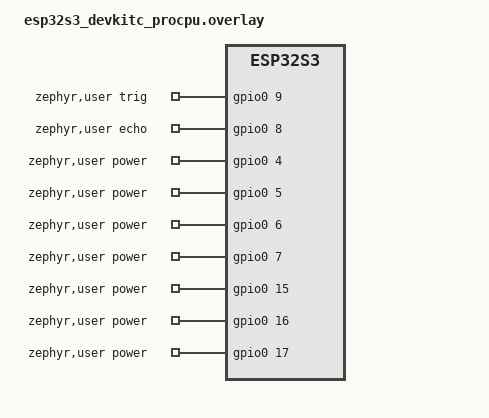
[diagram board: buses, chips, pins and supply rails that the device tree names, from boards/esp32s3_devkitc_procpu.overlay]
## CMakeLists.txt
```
# SPDX-License-Identifier: Apache-2.0

cmake_minimum_required(VERSION 3.20.0)

# Workaround: ESP32-Zephyr-Test wird von zephyr_module.py als Modul erkannt
# (wegen zephyr/CMakeLists.txt + zephyr/Kconfig im Projektverzeichnis).
# ZEPHYR_MODULES explizit setzen und den Projektpfad herausfiltern.
get_filename_component(_project_root "${CMAKE_CURRENT_SOURCE_DIR}/.." ABSOLUTE)
execute_process(
  COMMAND west list -f "{abspath}"
  WORKING_DIRECTORY "${_project_root}"
  OUTPUT_VARIABLE _all_modules
  OUTPUT_STRIP_TRAILING_WHITESPACE
  ERROR_QUIET
)
string(REPLACE "\n" ";" _modules_list "${_all_modules}")
list(REMOVE_ITEM _modules_list "${_project_root}")
set(ZEPHYR_MODULES ${_modules_list} CACHE STRING "Zephyr module paths" FORCE)

find_package(Zephyr REQUIRED HINTS $ENV{ZEPHYR_BASE})
project(us_ranging)

target_sources(app PRIVATE src/main.c)
```

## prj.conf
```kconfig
# SPDX-License-Identifier: Apache-2.0

CONFIG_LOG=y
CONFIG_GPIO=y
# CONFIG_POWEROFF zieht sleep_cpu.c / sleep_modem.c / rtc_io.c in den Build
# (benoetigt fuer die Linker-Symbole von esp_deep_sleep_start), aktiviert
# aber NICHT den Zephyr-PM-Idle-Hook → kein automatischer Sleep waehrend
# k_sem_take / k_sleep.
CONFIG_POWEROFF=y
```

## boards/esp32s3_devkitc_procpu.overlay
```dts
/*
 * Board-Overlay fuer ESP32-S3-DevKitC (procpu)
 * Projekt: 100-US-Ranging
 *
 * HC-SR04: TRIG -> GPIO9, ECHO -> GPIO8
 *
 * Power-Gate: GPIOs 4,5,6,7,15,16,17 parallel (je ~40 mA, Summe ~280 mA)
 * -> HC-SR04 VCC wird waehrend Deep-Sleep abgeschaltet (~70 mA Peak-Strom)
 *
 * SPDX-License-Identifier: Apache-2.0
 */

/ {
	zephyr,user {
		trig-gpios  = <&gpio0 9 GPIO_ACTIVE_HIGH>;
		echo-gpios  = <&gpio0 8 GPIO_ACTIVE_HIGH>;
		power-gpios = <&gpio0  4 GPIO_ACTIVE_HIGH>,
			      <&gpio0  5 GPIO_ACTIVE_HIGH>,
			      <&gpio0  6 GPIO_ACTIVE_HIGH>,
			      <&gpio0  7 GPIO_ACTIVE_HIGH>,
			      <&gpio0 15 GPIO_ACTIVE_HIGH>,
			      <&gpio0 16 GPIO_ACTIVE_HIGH>,
			      <&gpio0 17 GPIO_ACTIVE_HIGH>;
	};
};
```

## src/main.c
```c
/*
 * 100-US-Ranging - HC-SR04 Ultraschall-Entfernungsmessung
 *
 * ECHO-Puls wird per GPIO-Interrupt auf beide Flanken gemessen.
 * Timing ueber k_cycle_get_32() (ESP32-S3: 240 MHz -> ~4 ns Aufloesung).
 *
 * Verdrahtung (ESP32-S3-DevKitC):
 *   HC-SR04 VCC  -> 5 V (oder 3,3 V bei HC-SR04P)
 *   HC-SR04 GND  -> GND
 *   HC-SR04 TRIG -> GPIO9
 *   HC-SR04 ECHO -> GPIO8  (ggf. 5->3,3 V Spannungsteiler)
 *
 * SPDX-License-Identifier: Apache-2.0
 */

#include <zephyr/kernel.h>
#include <zephyr/device.h>
#include <zephyr/drivers/gpio.h>
#include <zephyr/logging/log.h>
#include <zephyr/logging/log_ctrl.h>
#include <esp_sleep.h>
#include <esp_attr.h>
#include <driver/gpio.h>

LOG_MODULE_REGISTER(us_ranging, LOG_LEVEL_INF);

#define DT_USER DT_PATH(zephyr_user)
static const struct gpio_dt_spec trig = GPIO_DT_SPEC_GET(DT_USER, trig_gpios);
static const struct gpio_dt_spec echo = GPIO_DT_SPEC_GET(DT_USER, echo_gpios);

/* Power-Gate: alle GPIOs aus der DT-Property als Array */
#define _PWR_PIN_INIT(node, prop, idx) GPIO_DT_SPEC_GET_BY_IDX(node, prop, idx),
static const struct gpio_dt_spec power_pins[] = {
	DT_FOREACH_PROP_ELEM(DT_USER, power_gpios, _PWR_PIN_INIT)
};
#define POWER_PIN_COUNT ARRAY_SIZE(power_pins)

#define TRIG_PULSE_US         10
#define ECHO_TIMEOUT_MS       35
#define MEASURE_INTERVAL_MS   10000
/* HC-SR04 benoetigt nach Power-on mindestens 50 ms bis zum ersten Trigger */
#define SENSOR_STARTUP_MS     550

#define US_TO_MM_NUM  10
#define US_TO_MM_DEN  58

static K_SEM_DEFINE(echo_sem, 0, 1);
static volatile uint32_t echo_rise_cycles;
static volatile uint32_t echo_fall_cycles;
static volatile bool     echo_complete;

/*
 * Akkumulierter Zeitversatz in ms.
 * RTC_DATA_ATTR legt die Variable in den RTC-Fast-Speicher (0x600fe000),
 * der Deep-Sleep ueberlebt. Bei Power-on-Reset wird er auf 0 zurueckgesetzt.
 */
RTC_DATA_ATTR static uint32_t s_rtc_offset_ms;

static log_timestamp_t persistent_ts(void)
{
	return (log_timestamp_t)(s_rtc_offset_ms + (uint32_t)k_uptime_get());
}

/* Sensor einschalten: alle Power-Pins HIGH */
static void sensor_power_on(void)
{
	for (int i = 0; i < POWER_PIN_COUNT; i++) {
		gpio_hold_dis(power_pins[i].pin);
		gpio_pin_set_dt(&power_pins[i], 1);
	}
}

/* Sensor ausschalten: alle Power-Pins LOW und einfrieren */
static void sensor_power_off(void)
{
	for (int i = 0; i < POWER_PIN_COUNT; i++) {
		gpio_pin_set_dt(&power_pins[i], 0);
		gpio_hold_en(power_pins[i].pin);
	}
}

static struct gpio_callback echo_cb_data;

static void echo_isr(const struct device *dev, struct gpio_callback *cb,
		     uint32_t pins)
{
	ARG_UNUSED(dev);
	ARG_UNUSED(cb);
	ARG_UNUSED(pins);

	if (gpio_pin_get_dt(&echo)) {
		echo_rise_cycles = k_cycle_get_32();
		echo_complete = false;
	} else {
		echo_fall_cycles = k_cycle_get_32();
		echo_complete = true;
		k_sem_give(&echo_sem);
	}
}

int main(void)
{
	int rc;

	/* Persistenten Timestamp sofort registrieren - gilt fuer alle Logs
	 * dieses Boots. Frequenz 1000 = Zephyr interpretiert Wert als ms.
	 * Bei Power-on: s_rtc_offset_ms == 0 -> Timestamp beginnt bei 0.
	 * Nach Deep-Sleep: s_rtc_offset_ms enthaelt akkumulierte Vorlaufzeit.
	 */
	log_set_timestamp_func(persistent_ts, 1000U);

	/* Wakeup-Ursache bestimmen (vor GPIO-Init, damit fruehe Logs korrekt
	 * gestempelt werden) */
	esp_sleep_wakeup_cause_t cause = esp_sleep_get_wakeup_cause();

	if (!gpio_is_ready_dt(&trig) || !gpio_is_ready_dt(&echo)) {
		LOG_ERR("GPIO nicht bereit");
		return -ENODEV;
	}

	gpio_pin_configure_dt(&trig, GPIO_OUTPUT_INACTIVE);
	gpio_pin_configure_dt(&echo, GPIO_INPUT);

	/* Pad-Hold vom letzten Deep-Sleep aufheben */
	gpio_hold_dis(trig.pin);

	/* Power-Pins initialisieren (OUTPUT LOW) und Hold aufheben */
	for (int i = 0; i < POWER_PIN_COUNT; i++) {
		if (!gpio_is_ready_dt(&power_pins[i])) {
			LOG_ERR("Power-GPIO %d nicht bereit", power_pins[i].pin);
			return -ENODEV;
		}
		gpio_pin_configure_dt(&power_pins[i], GPIO_OUTPUT_INACTIVE);
	}

	gpio_pin_interrupt_configure_dt(&echo, GPIO_INT_EDGE_BOTH);
	gpio_init_callback(&echo_cb_data, echo_isr, BIT(echo.pin));
	gpio_add_callback(echo.port, &echo_cb_data);

	if (cause == ESP_SLEEP_WAKEUP_TIMER) {
		LOG_INF("Wakeup: Timer  (Offset: %u ms)", s_rtc_offset_ms);
	} else if (cause == ESP_SLEEP_WAKEUP_UNDEFINED) {
		LOG_INF("Erster Start  (Power-on / Hard-Reset)");
	} else {
		LOG_INF("Wakeup-Ursache: %d  (Offset: %u ms)",
			(int)cause, s_rtc_offset_ms);
	}

	/* Sensor einschalten und Startzeit abwarten */
	sensor_power_on();
	LOG_INF("Sensor Power-on, warte %d ms...", SENSOR_STARTUP_MS);
	k_msleep(SENSOR_STARTUP_MS);

	while (1) {
		k_sem_reset(&echo_sem);
		echo_complete = false;

		gpio_pin_set_dt(&trig, 1);
		k_busy_wait(TRIG_PULSE_US);
		gpio_pin_set_dt(&trig, 0);

		rc = k_sem_take(&echo_sem, K_MSEC(ECHO_TIMEOUT_MS));

		if (rc == -EAGAIN || !echo_complete) {
			LOG_WRN("Kein Echo (Objekt zu weit oder Sensor fehlt)");
		} else {
			uint32_t cycles = echo_fall_cycles - echo_rise_cycles;
			uint64_t pulse_us = (uint64_t)cycles * 1000000ULL
					    / sys_clock_hw_cycles_per_sec();
			uint32_t dist_mm = (uint32_t)(pulse_us * US_TO_MM_NUM
						      / US_TO_MM_DEN);

			LOG_INF("Distanz: %4u mm  [Echo: %llu us]",
				dist_mm, pulse_us);
		}

		/* Zeitversatz fuer den naechsten Boot akkumulieren:
		 * aktuelle Laufzeit + nominelle Sleep-Dauer.
		 */
		s_rtc_offset_ms += (uint32_t)k_uptime_get() + MEASURE_INTERVAL_MS;
		LOG_INF("Deep-Sleep fuer %d s...", MEASURE_INTERVAL_MS / 1000);
		log_panic();
		/* Sensor abschalten und TRIG/Power-Pins einfrieren (LOW) */
		sensor_power_off();
		gpio_pin_set_dt(&trig, 0);
		gpio_hold_en(trig.pin);
		k_busy_wait(50000U);
		esp_sleep_enable_timer_wakeup(
			(uint64_t)MEASURE_INTERVAL_MS * 1000ULL);
		esp_deep_sleep_start(); /* kehrt nicht zurueck */
	}

	return 0;
}
```
